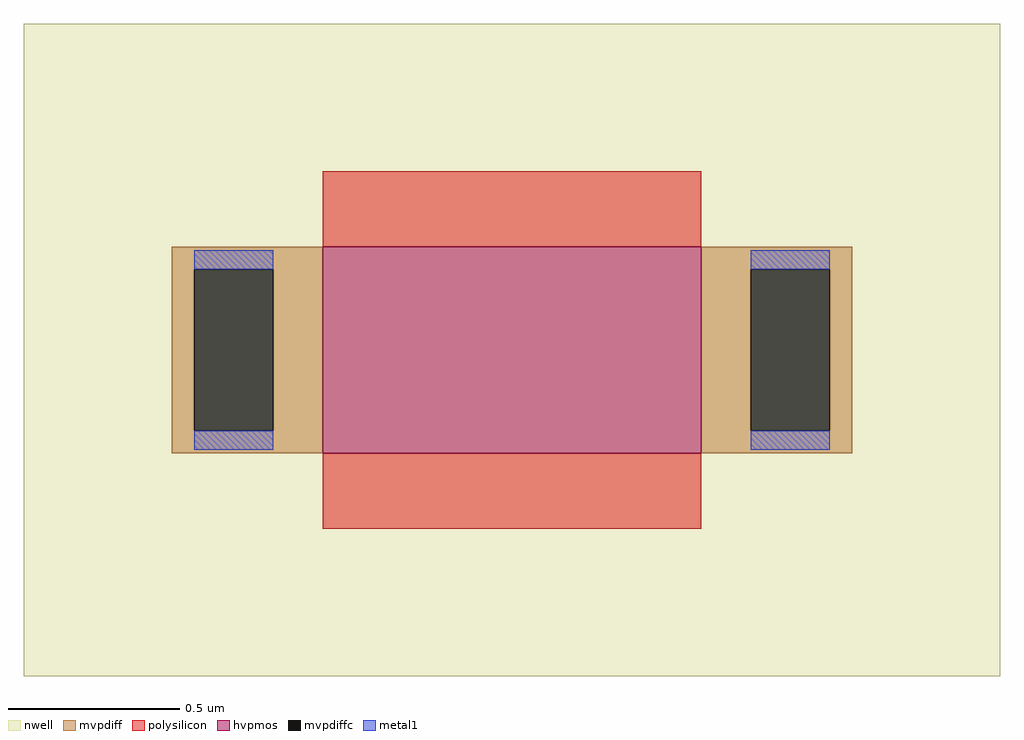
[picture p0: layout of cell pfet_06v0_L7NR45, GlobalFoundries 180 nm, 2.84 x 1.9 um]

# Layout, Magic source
magic
tech gf180mcuC
magscale 1 10
<< nwell >>
rect -284 -190 284 190
<< hvpmos >>
rect -110 -60 110 60
<< mvpdiff >>
rect -198 47 -110 60
rect -198 -47 -185 47
rect -139 -47 -110 47
rect -198 -60 -110 -47
rect 110 47 198 60
rect 110 -47 139 47
rect 185 -47 198 47
rect 110 -60 198 -47
<< mvpdiffc >>
rect -185 -47 -139 47
rect 139 -47 185 47
<< polysilicon >>
rect -110 60 110 104
rect -110 -104 110 -60
<< metal1 >>
rect -185 47 -139 58
rect -185 -58 -139 -47
rect 139 47 185 58
rect 139 -58 185 -47
<< properties >>
string gencell pfet_06v0
string library gf180mcu
string parameters w 0.6 l 1.1 m 1 nf 1 diffcov 100 polycov 100 guard 0 glc 0 grc 0 gtc 0 gbc 0 tbcov 100 rlcov 100 topc 0 botc 0 poverlap 0 doverlap 0 lmin 0.55 wmin 0.3 class mosfet full_metal 0 compatible {pfet_03v3 pfet_05v0 pfet_06v0}
<< end >>
